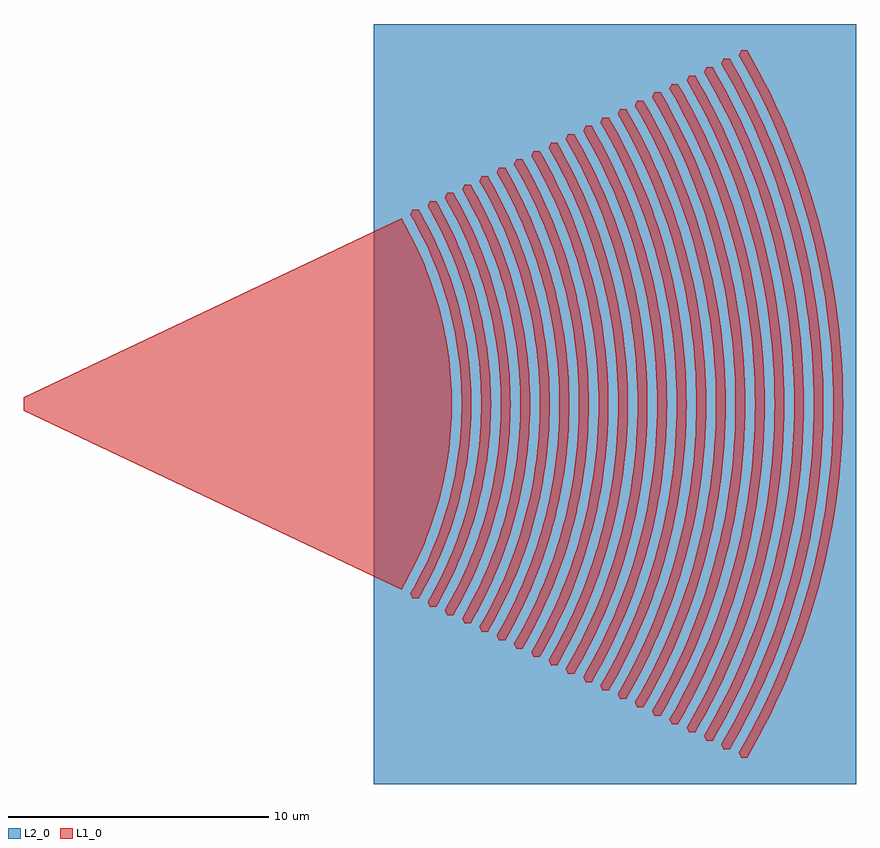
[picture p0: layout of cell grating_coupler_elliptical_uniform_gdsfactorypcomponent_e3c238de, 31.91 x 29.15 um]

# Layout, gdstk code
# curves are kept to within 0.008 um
import gdstk
lib = gdstk.Library(unit=1e-6, precision=1e-09)
def R(c, l, rs):  # rectangles x0, y0, x1, y1
    for r in rs: c.add(gdstk.rectangle(r[:2], r[2:], *l))
def P(c, l, *ps):  # polygons
    for p in ps: c.add(gdstk.Polygon(p, *l))
L1_0 = (1, 0)
L2_0 = (2, 0)

grating_coupler_elliptic = lib.new_cell('grating_coupler_elliptical_uniform_gdsfactorypcomponent_e3c238de')
P(grating_coupler_elliptic, L1_0, [(15.105,-7.466),(15.004,-7.264),(15.254,-6.819),(15.487,-6.367),(15.704,-5.908),(15.904,-5.441),(16.088,-4.967),(16.255,-4.488),(16.405,-4.004),(16.538,-3.514),(16.705,-2.772),(16.794,-2.272),(16.865,-1.77),(16.919,-1.266),(16.955,-0.76),(16.975,0),(16.955,0.76),(16.919,1.266),(16.865,1.77),(16.794,2.272),(16.705,2.772),(16.538,3.514),(16.405,4.004),(16.255,4.488),(16.088,4.967),(15.904,5.441),(15.704,5.908),(15.487,6.367),(15.254,6.819),(15.004,7.264),(15.105,7.466),(15.33,7.45),(15.706,6.766),(16.046,6.062),(16.252,5.583),(16.528,4.852),(16.691,4.357),(16.836,3.857),(16.964,3.353),(17.073,2.844),(17.204,2.074),(17.267,1.558),(17.313,1.039),(17.34,0.521),(17.351,0),(17.34,-0.521),(17.313,-1.039),(17.267,-1.558),(17.204,-2.074),(17.073,-2.844),(16.964,-3.353),(16.836,-3.857),(16.691,-4.357),(16.528,-4.852),(16.252,-5.583),(16.046,-6.062),(15.706,-6.766),(15.33,-7.45)],
  [(15.767,-7.786),(15.666,-7.585),(15.928,-7.121),(16.171,-6.649),(16.397,-6.169),(16.606,-5.682),(16.799,-5.187),(16.974,-4.687),(17.13,-4.181),(17.269,-3.669),(17.443,-2.894),(17.536,-2.372),(17.611,-1.849),(17.688,-1.058),(17.716,-0.529),(17.725,0),(17.716,0.529),(17.688,1.058),(17.611,1.849),(17.536,2.372),(17.443,2.894),(17.269,3.669),(17.13,4.181),(16.974,4.687),(16.799,5.187),(16.606,5.682),(16.397,6.169),(16.171,6.649),(15.928,7.121),(15.666,7.585),(15.767,7.786),(15.992,7.771),(16.258,7.299),(16.507,6.815),(16.849,6.074),(17.055,5.571),(17.33,4.805),(17.49,4.285),(17.633,3.761),(17.756,3.232),(17.861,2.7),(17.947,2.164),(18.013,1.625),(18.062,1.084),(18.09,0.543),(18.101,0),(18.09,-0.543),(18.062,-1.084),(18.013,-1.625),(17.947,-2.164),(17.861,-2.7),(17.756,-3.232),(17.633,-3.761),(17.49,-4.285),(17.33,-4.805),(17.055,-5.571),(16.849,-6.074),(16.507,-6.815),(16.258,-7.299),(15.992,-7.771)],
  [(16.43,-8.109),(16.329,-7.907),(16.601,-7.423),(16.855,-6.931),(17.091,-6.431),(17.309,-5.923),(17.51,-5.407),(17.692,-4.885),(17.855,-4.358),(17.999,-3.825),(18.181,-3.017),(18.278,-2.473),(18.356,-1.927),(18.436,-1.103),(18.466,-0.551),(18.475,0),(18.466,0.551),(18.436,1.103),(18.356,1.927),(18.278,2.473),(18.181,3.017),(17.999,3.825),(17.855,4.358),(17.692,4.885),(17.51,5.407),(17.309,5.923),(17.091,6.431),(16.855,6.931),(16.601,7.423),(16.329,7.907),(16.43,8.109),(16.655,8.093),(16.931,7.601),(17.191,7.097),(17.433,6.585),(17.762,5.802),(18.048,5.003),(18.215,4.462),(18.363,3.917),(18.492,3.367),(18.601,2.811),(18.691,2.254),(18.76,1.692),(18.81,1.129),(18.84,0.565),(18.851,0),(18.84,-0.565),(18.81,-1.129),(18.76,-1.692),(18.691,-2.254),(18.601,-2.811),(18.492,-3.367),(18.363,-3.917),(18.215,-4.462),(18.048,-5.003),(17.762,-5.802),(17.433,-6.585),(17.191,-7.097),(16.931,-7.601),(16.655,-8.093)],
  [(17.093,-8.429),(16.992,-8.227),(17.275,-7.724),(17.539,-7.213),(17.785,-6.692),(18.012,-6.164),(18.22,-5.627),(18.41,-5.084),(18.58,-4.535),(18.73,-3.98),(18.919,-3.14),(19.02,-2.574),(19.101,-2.005),(19.161,-1.435),(19.202,-0.861),(19.225,0),(19.202,0.861),(19.161,1.435),(19.101,2.005),(19.02,2.574),(18.919,3.14),(18.73,3.98),(18.58,4.535),(18.41,5.084),(18.22,5.627),(18.012,6.164),(17.785,6.692),(17.539,7.213),(17.275,7.724),(16.992,8.227),(17.093,8.429),(17.318,8.415),(17.605,7.902),(17.875,7.379),(18.127,6.846),(18.468,6.032),(18.766,5.202),(18.94,4.639),(19.094,4.072),(19.227,3.499),(19.342,2.923),(19.435,2.342),(19.506,1.76),(19.558,1.174),(19.589,0.588),(19.601,0),(19.589,-0.588),(19.558,-1.174),(19.506,-1.76),(19.435,-2.342),(19.342,-2.923),(19.227,-3.499),(19.094,-4.072),(18.94,-4.639),(18.766,-5.202),(18.468,-6.032),(18.127,-6.846),(17.875,-7.379),(17.605,-7.902),(17.318,-8.415)],
  [(17.756,-8.752),(17.655,-8.55),(17.949,-8.026),(18.223,-7.495),(18.478,-6.954),(18.714,-6.404),(18.931,-5.847),(19.128,-5.283),(19.305,-4.713),(19.461,-4.136),(19.597,-3.555),(19.712,-2.969),(19.846,-2.084),(19.909,-1.491),(19.952,-0.895),(19.975,0),(19.952,0.895),(19.909,1.491),(19.846,2.084),(19.712,2.969),(19.597,3.555),(19.461,4.136),(19.305,4.713),(19.128,5.283),(18.931,5.847),(18.714,6.404),(18.478,6.954),(18.223,7.495),(17.949,8.026),(17.655,8.55),(17.756,8.752),(17.981,8.736),(18.422,7.934),(18.693,7.385),(18.943,6.828),(19.175,6.263),(19.484,5.401),(19.665,4.817),(19.825,4.228),(19.963,3.633),(20.082,3.035),(20.178,2.432),(20.253,1.827),(20.307,1.219),(20.339,0.61),(20.351,0),(20.339,-0.61),(20.307,-1.219),(20.253,-1.827),(20.178,-2.432),(20.082,-3.035),(19.963,-3.633),(19.825,-4.228),(19.665,-4.817),(19.484,-5.401),(19.175,-6.263),(18.943,-6.828),(18.693,-7.385),(18.422,-7.934),(17.981,-8.736)],
  [(18.419,-9.072),(18.318,-8.871),(18.623,-8.328),(18.907,-7.777),(19.172,-7.215),(19.417,-6.645),(19.642,-6.067),(19.846,-5.482),(20.029,-4.89),(20.191,-4.291),(20.395,-3.385),(20.504,-2.775),(20.591,-2.162),(20.656,-1.547),(20.701,-0.928),(20.725,0),(20.701,0.928),(20.656,1.547),(20.591,2.162),(20.504,2.775),(20.395,3.385),(20.191,4.291),(20.029,4.89),(19.846,5.482),(19.642,6.067),(19.417,6.645),(19.172,7.215),(18.907,7.777),(18.623,8.328),(18.318,8.871),(18.419,9.072),(18.644,9.057),(19.101,8.226),(19.382,7.657),(19.765,6.787),(19.994,6.197),(20.202,5.598),(20.389,4.994),(20.555,4.383),(20.699,3.768),(20.822,3.146),(20.922,2.521),(20.999,1.894),(21.055,1.264),(21.088,0.633),(21.101,0),(21.088,-0.633),(21.055,-1.264),(20.999,-1.894),(20.922,-2.521),(20.822,-3.146),(20.699,-3.768),(20.555,-4.383),(20.389,-4.994),(20.202,-5.598),(19.994,-6.197),(19.765,-6.787),(19.382,-7.657),(19.101,-8.226),(18.644,-9.057)],
  [(19.081,-9.394),(18.98,-9.193),(19.297,-8.63),(19.592,-8.058),(19.866,-7.477),(20.119,-6.886),(20.353,-6.287),(20.564,-5.68),(20.754,-5.067),(20.922,-4.447),(21.133,-3.508),(21.246,-2.875),(21.336,-2.24),(21.404,-1.602),(21.45,-0.962),(21.475,0),(21.45,0.962),(21.404,1.602),(21.336,2.24),(21.246,2.875),(21.133,3.508),(20.922,4.447),(20.754,5.067),(20.564,5.68),(20.353,6.287),(20.119,6.886),(19.866,7.477),(19.592,8.058),(19.297,8.63),(18.98,9.193),(19.081,9.394),(19.306,9.379),(19.627,8.808),(20.071,7.929),(20.34,7.331),(20.589,6.724),(20.92,5.798),(21.114,5.171),(21.286,4.539),(21.435,3.9),(21.562,3.258),(21.666,2.611),(21.745,1.961),(21.804,1.309),(21.838,0.655),(21.851,0),(21.838,-0.655),(21.804,-1.309),(21.745,-1.961),(21.666,-2.611),(21.562,-3.258),(21.435,-3.9),(21.286,-4.539),(21.114,-5.171),(20.92,-5.798),(20.589,-6.724),(20.34,-7.331),(20.071,-7.929),(19.78,-8.518),(19.306,-9.379)],
  [(19.744,-9.715),(19.643,-9.514),(19.97,-8.932),(20.276,-8.34),(20.56,-7.738),(20.822,-7.127),(21.063,-6.507),(21.282,-5.88),(21.479,-5.244),(21.653,-4.603),(21.871,-3.63),(21.988,-2.976),(22.081,-2.319),(22.151,-1.659),(22.199,-0.996),(22.225,0),(22.199,0.996),(22.151,1.659),(22.081,2.319),(21.988,2.976),(21.871,3.63),(21.653,4.603),(21.479,5.244),(21.282,5.88),(21.063,6.507),(20.822,7.127),(20.56,7.738),(20.276,8.34),(19.97,8.932),(19.643,9.514),(19.744,9.715),(19.969,9.7),(20.459,8.809),(20.76,8.201),(21.17,7.269),(21.415,6.637),(21.638,5.996),(21.839,5.348),(22.017,4.695),(22.17,4.034),(22.302,3.37),(22.409,2.7),(22.492,2.029),(22.552,1.353),(22.588,0.678),(22.601,0),(22.588,-0.678),(22.552,-1.353),(22.492,-2.029),(22.409,-2.7),(22.302,-3.37),(22.17,-4.034),(22.017,-4.695),(21.839,-5.348),(21.638,-5.996),(21.415,-6.637),(21.17,-7.269),(20.76,-8.201),(20.459,-8.809),(19.969,-9.7)],
  [(20.407,-10.037),(20.306,-9.836),(20.644,-9.234),(20.96,-8.622),(21.253,-8),(21.525,-7.368),(21.774,-6.727),(22,-6.077),(22.204,-5.422),(22.383,-4.758),(22.609,-3.753),(22.73,-3.076),(22.827,-2.397),(22.927,-1.372),(22.963,-0.687),(22.975,0),(22.963,0.687),(22.927,1.372),(22.827,2.397),(22.73,3.076),(22.609,3.753),(22.383,4.758),(22.204,5.422),(22,6.077),(21.774,6.727),(21.525,7.368),(21.253,8),(20.96,8.622),(20.644,9.234),(20.306,9.836),(20.407,10.037),(20.632,10.022),(21.138,9.101),(21.449,8.472),(21.873,7.51),(22.126,6.857),(22.356,6.195),(22.564,5.526),(22.747,4.85),(22.906,4.168),(23.042,3.481),(23.153,2.791),(23.238,2.096),(23.301,1.398),(23.337,0.699),(23.351,0),(23.337,-0.699),(23.301,-1.398),(23.238,-2.096),(23.153,-2.791),(23.042,-3.481),(22.906,-4.168),(22.747,-4.85),(22.564,-5.526),(22.356,-6.195),(22.126,-6.857),(21.873,-7.51),(21.449,-8.472),(21.138,-9.101),(20.632,-10.022)],
  [(21.07,-10.358),(20.969,-10.157),(21.318,-9.536),(21.644,-8.904),(21.947,-8.262),(22.228,-7.609),(22.485,-6.947),(22.719,-6.276),(22.928,-5.599),(23.114,-4.914),(23.347,-3.876),(23.472,-3.177),(23.572,-2.475),(23.647,-1.77),(23.697,-1.063),(23.725,0),(23.697,1.063),(23.647,1.77),(23.572,2.475),(23.472,3.177),(23.347,3.876),(23.114,4.914),(22.928,5.599),(22.719,6.276),(22.485,6.947),(22.228,7.609),(21.947,8.262),(21.644,8.904),(21.318,9.536),(20.969,10.157),(21.07,10.358),(21.295,10.343),(21.648,9.714),(22.138,8.744),(22.574,7.751),(22.837,7.077),(23.075,6.394),(23.288,5.703),(23.478,5.006),(23.642,4.301),(23.782,3.593),(23.897,2.879),(23.985,2.163),(24.049,1.443),(24.087,0.722),(24.101,0),(24.087,-0.722),(24.049,-1.443),(23.985,-2.163),(23.897,-2.879),(23.782,-3.593),(23.642,-4.301),(23.478,-5.006),(23.288,-5.703),(23.075,-6.394),(22.837,-7.077),(22.574,-7.751),(22.138,-8.744),(21.648,-9.714),(21.295,-10.343)],
  [(21.732,-10.68),(21.631,-10.479),(21.992,-9.837),(22.328,-9.186),(22.641,-8.523),(22.93,-7.85),(23.195,-7.167),(23.437,-6.475),(23.653,-5.776),(23.845,-5.069),(24.085,-3.998),(24.214,-3.278),(24.317,-2.554),(24.394,-1.826),(24.446,-1.097),(24.475,0),(24.446,1.097),(24.394,1.826),(24.317,2.554),(24.214,3.278),(24.085,3.998),(23.845,5.069),(23.653,5.776),(23.437,6.475),(23.195,7.167),(22.93,7.85),(22.641,8.523),(22.328,9.186),(21.992,9.837),(21.631,10.479),(21.732,10.68),(21.957,10.665),(22.322,10.015),(22.827,9.016),(23.133,8.336),(23.416,7.645),(23.793,6.593),(24.013,5.88),(24.209,5.161),(24.378,4.435),(24.522,3.705),(24.64,2.969),(24.731,2.23),(24.797,1.488),(24.836,0.745),(24.851,0),(24.836,-0.745),(24.797,-1.488),(24.731,-2.23),(24.64,-2.969),(24.522,-3.705),(24.378,-4.435),(24.209,-5.161),(24.013,-5.88),(23.793,-6.593),(23.416,-7.645),(23.133,-8.336),(22.827,-9.016),(22.322,-10.015),(21.957,-10.665)],
  [(22.395,-11.001),(22.295,-10.799),(22.666,-10.139),(23.012,-9.468),(23.334,-8.785),(23.632,-8.091),(23.906,-7.387),(24.155,-6.674),(24.378,-5.953),(24.575,-5.225),(24.823,-4.121),(24.956,-3.378),(25.062,-2.632),(25.172,-1.507),(25.212,-0.753),(25.225,0),(25.212,0.753),(25.172,1.507),(25.062,2.632),(24.956,3.378),(24.823,4.121),(24.575,5.225),(24.378,5.953),(24.155,6.674),(23.906,7.387),(23.632,8.091),(23.334,8.785),(23.012,9.468),(22.666,10.139),(22.295,10.799),(22.395,11.001),(22.619,10.987),(22.996,10.317),(23.516,9.288),(23.98,8.233),(24.258,7.517),(24.511,6.792),(24.738,6.057),(24.939,5.317),(25.113,4.569),(25.262,3.816),(25.384,3.058),(25.478,2.297),(25.546,1.533),(25.586,0.767),(25.601,0),(25.586,-0.767),(25.546,-1.533),(25.478,-2.297),(25.384,-3.058),(25.262,-3.816),(25.113,-4.569),(24.939,-5.317),(24.738,-6.057),(24.511,-6.792),(24.258,-7.517),(23.98,-8.233),(23.516,-9.288),(22.996,-10.317),(22.619,-10.987)],
  [(23.058,-11.324),(22.957,-11.122),(23.339,-10.441),(23.696,-9.75),(24.028,-9.046),(24.335,-8.331),(24.617,-7.607),(24.873,-6.872),(25.103,-6.131),(25.306,-5.38),(25.561,-4.244),(25.698,-3.479),(25.807,-2.711),(25.92,-1.552),(25.962,-0.776),(25.975,0),(25.962,0.776),(25.92,1.552),(25.807,2.711),(25.698,3.479),(25.561,4.244),(25.306,5.38),(25.103,6.131),(24.873,6.872),(24.617,7.607),(24.335,8.331),(24.028,9.046),(23.696,9.75),(23.339,10.441),(22.957,11.122),(23.058,11.324),(23.283,11.308),(23.854,10.269),(24.205,9.559),(24.683,8.473),(24.969,7.737),(25.229,6.99),(25.463,6.235),(25.67,5.472),(25.849,4.702),(26.002,3.928),(26.127,3.148),(26.224,2.365),(26.294,1.578),(26.336,0.79),(26.351,0),(26.336,-0.79),(26.294,-1.578),(26.224,-2.365),(26.127,-3.148),(26.002,-3.928),(25.849,-4.702),(25.67,-5.472),(25.463,-6.235),(25.229,-6.99),(24.969,-7.737),(24.683,-8.473),(24.205,-9.559),(23.854,-10.269),(23.283,-11.308)],
  [(23.721,-11.644),(23.62,-11.443),(24.013,-10.743),(24.38,-10.032),(24.722,-9.308),(25.039,-8.572),(25.328,-7.826),(25.591,-7.071),(25.828,-6.308),(26.037,-5.536),(26.219,-4.758),(26.373,-3.974),(26.552,-2.789),(26.599,-2.392),(26.669,-1.596),(26.711,-0.798),(26.725,0),(26.711,0.798),(26.669,1.596),(26.599,2.392),(26.552,2.789),(26.373,3.974),(26.219,4.758),(26.037,5.536),(25.828,6.308),(25.591,7.071),(25.328,7.826),(25.039,8.572),(24.722,9.308),(24.38,10.032),(24.013,10.743),(23.62,11.443),(23.721,11.644),(23.946,11.629),(24.533,10.561),(24.894,9.831),(25.227,9.089),(25.536,8.337),(25.817,7.574),(26.188,6.412),(26.401,5.628),(26.585,4.836),(26.743,4.04),(26.871,3.237),(26.971,2.432),(27.043,1.622),(27.085,0.812),(27.101,0),(27.085,-0.812),(27.043,-1.622),(26.971,-2.432),(26.871,-3.237),(26.743,-4.04),(26.585,-4.836),(26.401,-5.628),(26.188,-6.412),(25.817,-7.574),(25.536,-8.337),(25.227,-9.089),(24.894,-9.831),(24.533,-10.561),(23.946,-11.629)],
  [(24.384,-11.966),(24.283,-11.765),(24.687,-11.045),(25.064,-10.313),(25.416,-9.569),(25.74,-8.813),(26.038,-8.046),(26.309,-7.27),(26.552,-6.485),(26.767,-5.691),(26.955,-4.892),(27.113,-4.085),(27.298,-2.867),(27.384,-2.05),(27.443,-1.231),(27.475,0),(27.443,1.231),(27.384,2.05),(27.298,2.867),(27.113,4.085),(26.955,4.892),(26.767,5.691),(26.552,6.485),(26.309,7.27),(26.038,8.046),(25.74,8.813),(25.416,9.569),(25.064,10.313),(24.687,11.045),(24.283,11.765),(24.384,11.966),(24.609,11.951),(25.212,10.853),(25.582,10.103),(25.926,9.341),(26.243,8.567),(26.665,7.388),(26.912,6.589),(27.131,5.783),(27.321,4.97),(27.483,4.151),(27.615,3.327),(27.717,2.499),(27.791,1.667),(27.835,0.835),(27.851,0),(27.835,-0.835),(27.791,-1.667),(27.717,-2.499),(27.615,-3.327),(27.483,-4.151),(27.321,-4.97),(27.131,-5.783),(26.912,-6.589),(26.665,-7.388),(26.243,-8.567),(25.926,-9.341),(25.582,-10.103),(25.212,-10.853),(24.609,-11.951)],
  [(25.046,-12.287),(24.945,-12.086),(25.361,-11.347),(25.749,-10.595),(26.109,-9.831),(26.443,-9.054),(26.749,-8.266),(27.027,-7.468),(27.277,-6.662),(27.498,-5.847),(27.691,-5.026),(27.853,-4.197),(28.043,-2.946),(28.132,-2.106),(28.192,-1.265),(28.225,0),(28.192,1.265),(28.132,2.106),(28.043,2.946),(27.853,4.197),(27.691,5.026),(27.498,5.847),(27.277,6.662),(27.027,7.468),(26.749,8.266),(26.443,9.054),(26.109,9.831),(25.749,10.595),(25.361,11.347),(24.945,12.086),(25.046,12.287),(25.271,12.272),(25.691,11.525),(26.272,10.375),(26.791,9.196),(27.101,8.396),(27.383,7.586),(27.637,6.766),(27.862,5.939),(28.057,5.104),(28.223,4.263),(28.358,3.416),(28.463,2.566),(28.539,1.712),(28.584,0.857),(28.601,0),(28.584,-0.857),(28.539,-1.712),(28.463,-2.566),(28.358,-3.416),(28.223,-4.263),(28.057,-5.104),(27.862,-5.939),(27.637,-6.766),(27.383,-7.586),(27.101,-8.396),(26.791,-9.196),(26.272,-10.375),(25.691,-11.525),(25.271,-12.272)],
  [(25.709,-12.609),(25.608,-12.408),(26.035,-11.649),(26.433,-10.877),(26.978,-9.695),(27.306,-8.892),(27.746,-7.667),(28.002,-6.839),(28.229,-6.003),(28.426,-5.159),(28.593,-4.309),(28.788,-3.024),(28.879,-2.162),(28.941,-1.299),(28.972,-0.433),(28.975,0),(28.972,0.433),(28.941,1.299),(28.879,2.162),(28.788,3.024),(28.593,4.309),(28.426,5.159),(28.229,6.003),(28.002,6.839),(27.746,7.667),(27.306,8.892),(26.978,9.695),(26.433,10.877),(26.035,11.649),(25.608,12.408),(25.709,12.609),(25.934,12.594),(26.571,11.437),(26.961,10.646),(27.493,9.437),(27.812,8.616),(28.102,7.785),(28.362,6.943),(28.593,6.095),(28.792,5.237),(28.963,4.375),(29.102,3.506),(29.21,2.633),(29.288,1.757),(29.334,0.88),(29.351,0),(29.334,-0.88),(29.288,-1.757),(29.21,-2.633),(29.102,-3.506),(28.963,-4.375),(28.792,-5.237),(28.593,-6.095),(28.362,-6.943),(28.102,-7.785),(27.812,-8.616),(27.493,-9.437),(26.961,-10.646),(26.571,-11.437),(25.934,-12.594)],
  [(26.372,-12.93),(26.271,-12.729),(26.708,-11.951),(27.117,-11.159),(27.497,-10.354),(28.013,-9.122),(28.171,-8.706),(28.464,-7.866),(28.727,-7.017),(28.959,-6.158),(29.162,-5.293),(29.251,-4.857),(29.408,-3.982),(29.533,-3.102),(29.627,-2.218),(29.69,-1.332),(29.722,-0.445),(29.725,0),(29.722,0.445),(29.69,1.332),(29.627,2.218),(29.533,3.102),(29.408,3.982),(29.251,4.857),(29.162,5.293),(28.959,6.158),(28.727,7.017),(28.464,7.866),(28.171,8.706),(28.013,9.122),(27.497,10.354),(27.117,11.159),(26.708,11.951),(26.271,12.729),(26.372,12.93),(26.597,12.915),(26.821,12.525),(27.25,11.729),(27.65,10.918),(28.196,9.678),(28.523,8.836),(28.82,7.984),(29.087,7.121),(29.323,6.25),(29.528,5.371),(29.703,4.486),(29.846,3.595),(29.956,2.701),(30.036,1.802),(30.084,0.902),(30.101,0),(30.084,-0.902),(30.036,-1.802),(29.956,-2.701),(29.846,-3.595),(29.703,-4.486),(29.528,-5.371),(29.323,-6.25),(29.087,-7.121),(28.82,-7.984),(28.523,-8.836),(28.196,-9.678),(27.65,-10.918),(27.25,-11.729),(26.821,-12.525),(26.597,-12.915)],
  [(27.035,-13.253),(26.934,-13.051),(27.382,-12.252),(27.801,-11.441),(28.375,-10.198),(28.72,-9.353),(29.035,-8.497),(29.321,-7.631),(29.575,-6.755),(29.69,-6.314),(29.898,-5.426),(29.99,-4.98),(30.15,-4.082),(30.278,-3.181),(30.331,-2.728),(30.411,-1.821),(30.459,-0.91),(30.475,0),(30.459,0.91),(30.411,1.821),(30.331,2.728),(30.278,3.181),(30.15,4.082),(29.99,4.98),(29.898,5.426),(29.69,6.314),(29.575,6.755),(29.321,7.631),(29.035,8.497),(28.72,9.353),(28.375,10.198),(27.801,11.441),(27.382,12.252),(26.934,13.051),(27.035,13.253),(27.26,13.237),(27.929,12.02),(28.339,11.19),(28.719,10.346),(29.07,9.489),(29.538,8.182),(29.811,7.298),(30.054,6.406),(30.264,5.506),(30.443,4.598),(30.589,3.685),(30.703,2.768),(30.785,1.847),(30.833,0.924),(30.851,0),(30.833,-0.924),(30.785,-1.847),(30.703,-2.768),(30.589,-3.685),(30.443,-4.598),(30.264,-5.506),(30.054,-6.406),(29.811,-7.298),(29.538,-8.182),(29.07,-9.489),(28.719,-10.346),(28.339,-11.19),(27.929,-12.02),(27.26,-13.237)],
  [(27.698,-13.573),(27.597,-13.372),(28.056,-12.554),(28.485,-11.723),(29.073,-10.449),(29.427,-9.583),(29.75,-8.706),(30.042,-7.819),(30.421,-6.469),(30.634,-5.56),(30.728,-5.103),(30.892,-4.183),(31.023,-3.259),(31.122,-2.33),(31.188,-1.399),(31.209,-0.933),(31.225,0),(31.209,0.933),(31.188,1.399),(31.122,2.33),(31.023,3.259),(30.892,4.183),(30.728,5.103),(30.634,5.56),(30.421,6.469),(30.042,7.819),(29.75,8.706),(29.427,9.583),(29.073,10.449),(28.485,11.723),(28.056,12.554),(27.597,13.372),(27.698,13.573),(27.923,13.558),(28.158,13.148),(28.608,12.312),(29.028,11.462),(29.417,10.597),(29.777,9.719),(30.104,8.83),(30.256,8.381),(30.536,7.475),(30.785,6.561),(31,5.638),(31.183,4.71),(31.333,3.774),(31.449,2.835),(31.533,1.892),(31.583,0.947),(31.601,0),(31.583,-0.947),(31.533,-1.892),(31.449,-2.835),(31.333,-3.774),(31.183,-4.71),(31,-5.638),(30.785,-6.561),(30.536,-7.475),(30.256,-8.381),(30.104,-8.83),(29.777,-9.719),(29.417,-10.597),(29.028,-11.462),(28.608,-12.312),(28.158,-13.148),(27.923,-13.558)],
  [(14.67,-7.116),(0.188,-0.25),(0.188,0.25),(14.67,7.116),(15.03,6.461),(15.25,6.015),(15.455,5.561),(15.643,5.1),(15.815,4.633),(15.97,4.161),(16.109,3.683),(16.231,3.201),(16.335,2.716),(16.423,2.226),(16.493,1.734),(16.565,0.993),(16.591,0.497),(16.6,0),(16.591,-0.497),(16.565,-0.993),(16.493,-1.734),(16.423,-2.226),(16.335,-2.716),(16.231,-3.201),(16.109,-3.683),(15.97,-4.161),(15.815,-4.633),(15.643,-5.1),(15.455,-5.561),(15.25,-6.015),(15.03,-6.461)])
R(grating_coupler_elliptic, L2_0, [(13.6,-14.573,32.101,14.573)])

lib.write_gds('grating_coupler_elliptical_uniform_gdsfactorypcomponent_e3c238de.gds')
